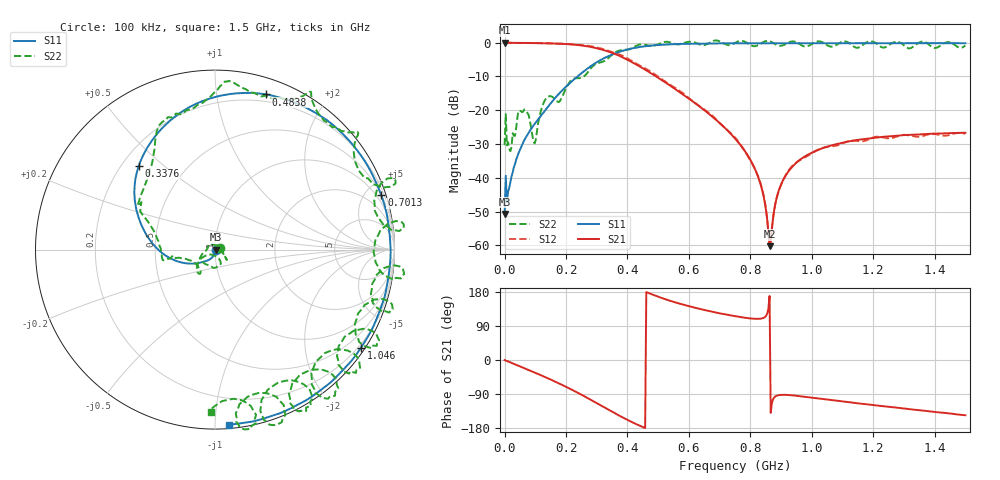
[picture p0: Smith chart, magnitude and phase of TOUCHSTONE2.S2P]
!Agilent Technologies,E5071C,MY46107260,A.09.30
!Date: Mon Jan 01 00:34:51 2001
!Data & Calibration Information:
!Freq	S11:SOLT2(ON)	S21:SOLT2(ON)	S12:SOLT2(ON)	S22:SOLT2(ON)
# Hz S dB R 50
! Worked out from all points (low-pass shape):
!   401 points, 100 kHz to 1.5 GHz, reference 50 ohm
!   highest |S21| = -0.04 dB at 100 kHz (marker M1); lowest = -60.2 dB at 862.5 MHz (marker M2)
!   |S21| within 3 dB of the highest: start of sweep to 350.2 MHz
!   lowest |S11| = -50.7 dB at 100 kHz (marker M3), VSWR 1.01, Z = 50.3 + j5.53e-05 ohm
!   |S11| at or under -10 dB: start of sweep to 237.5 MHz
!   |S22| runs from -32.1 to 0.6 dB; largest |S21 - S12| = 0.035
!   S11 on the Smith chart (normalised r, x): 100 kHz: 1.01, +0.00; 337.6 MHz: 0.27, +0.41; 483.8 MHz: 0.14, +1.37; 701.3 MHz: 0.52, +6.25; 1.046 GHz: 0.12, -3.28; 1.5 GHz: 0.02, -1.08
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100000  -50.70 0.0  -0.04 -0.1  -0.04 -0.1  -30.33 11.6
1.5099e7  -43.01 -68.8  -0.05 -5.1  -0.06 -5.1  -31.37 64.8
4.884675e7  -31.96 -99.4  -0.09 -16.4  -0.11 -16.4  -20.17 -136.3
7.134525e7  -27.66 -107.6  -0.10 -24.0  -0.11 -24.0  -20.49 -81.2
9.75935e7  -24.07 -118.8  -0.14 -33.0  -0.12 -32.9  -29.83 -108.3
1.35091e8  -19.71 -136.7  -0.20 -46.2  -0.18 -46.1  -16.51 -132.6
2.513332e8  -8.97 173.4  -0.84 -92.1  -0.73 -92.5  -10.39 178.7
3.375775e8  -4.01 132.4  -2.64 -130.9  -2.38 -131.1  -4.61 126.9
4.35071e8  -1.37 89.0  -6.81 -171.6  -6.55 -171.1  -0.69 87.3
4.838178e8  -0.82 71.7  -9.47 171.9  -9.04 172.3  -0.89 71.7
5.025665e8  -0.70 65.7  -10.55 166.3  -10.24 167.0  -0.44 62.1
7.013032e8  -0.22 18.1  -23.88 123.0  -23.88 123.8  0.33 22.4
7.5005e8  -0.20 9.7  -28.37 115.8  -28.02 114.1  -0.07 6.1
8.25045e8  -0.19 -2.8  -39.65 108.6  -39.47 106.9  -0.72 -6.5
8.625425e8  -0.19 -8.7  -60.21 168.8  -60.10 171.8  0.43 -5.9
9.075395e8  -0.17 -15.3  -40.50 -91.8  -40.49 -93.9  -0.71 -17.6
1.001283e9  -0.17 -27.9  -32.51 -99.5  -32.70 -102.2  -0.42 -32.6
1.04628e9  -0.18 -33.8  -30.87 -104.0  -30.92 -102.2  -0.55 -28.0
1.252516e9  -0.16 -58.2  -27.72 -123.6  -28.32 -122.3  -0.62 -63.3
1.290014e9  -0.18 -62.5  -27.44 -127.1  -27.41 -129.5  -0.07 -56.7
1.331261e9  -0.17 -67.1  -27.23 -130.9  -27.68 -127.9  -1.13 -72.9
1.5e9  -0.17 -85.5  -26.66 -145.8  -26.94 -141.9  -0.86 -91.5
